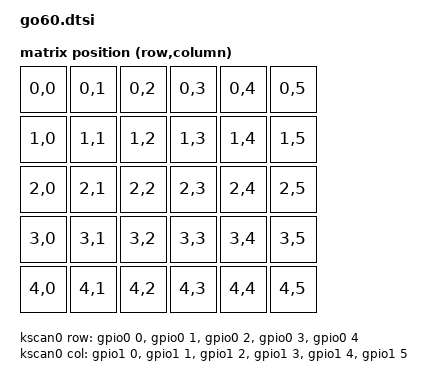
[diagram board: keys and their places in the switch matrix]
#include <dt-bindings/zmk/matrix_transform.h>

/ {
    kscan0: kscan {
        compatible = "zmk,kscan-gpio-matrix";

        row-gpios = <&gpio0 0 &gpio0 1 &gpio0 2 &gpio0 3 &gpio0 4>;
        col-gpios = <&gpio1 0 &gpio1 1 &gpio1 2 &gpio1 3 &gpio1 4 &gpio1 5>;

        debounce-press-ms = <5>;
        debounce-release-ms = <5>;
    };

    default_transform: matrix_transform {
        compatible = "zmk,matrix-transform";

        rows = <5>;
        columns = <6>;

        map = <
            RC(0,0) RC(0,1) RC(0,2) RC(0,3) RC(0,4) RC(0,5)
            RC(1,0) RC(1,1) RC(1,2) RC(1,3) RC(1,4) RC(1,5)
            RC(2,0) RC(2,1) RC(2,2) RC(2,3) RC(2,4) RC(2,5)
            RC(3,0) RC(3,1) RC(3,2) RC(3,3) RC(3,4) RC(3,5)
            RC(4,0) RC(4,1) RC(4,2) RC(4,3) RC(4,4) RC(4,5)
        >;
    };
};
